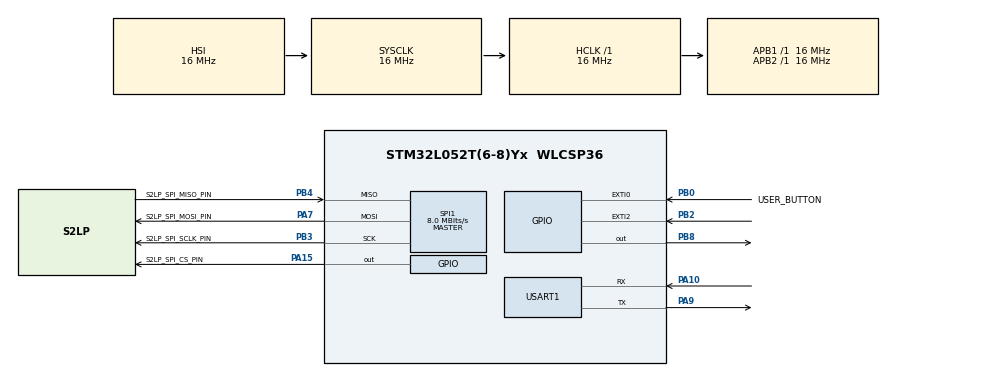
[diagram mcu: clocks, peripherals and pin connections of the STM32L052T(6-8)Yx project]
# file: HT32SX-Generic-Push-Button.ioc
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Dma.Request0=SPI1_TX
Dma.Request1=SPI1_RX
Dma.Request2=USART1_RX
Dma.Request3=USART1_TX
Dma.SPI1_RX.1.Direction=DMA_PERIPH_TO_MEMORY
Dma.SPI1_RX.1.Instance=DMA1_Channel2
Dma.SPI1_RX.1.MemDataAlignment=DMA_MDATAALIGN_BYTE
Dma.SPI1_RX.1.MemInc=DMA_MINC_ENABLE
Dma.SPI1_RX.1.Mode=DMA_NORMAL
Dma.SPI1_RX.1.PeriphDataAlignment=DMA_PDATAALIGN_BYTE
Dma.SPI1_RX.1.PeriphInc=DMA_PINC_DISABLE
Dma.SPI1_RX.1.Priority=DMA_PRIORITY_HIGH
Dma.SPI1_TX.0.Direction=DMA_MEMORY_TO_PERIPH
Dma.SPI1_TX.0.Instance=DMA1_Channel3
Dma.SPI1_TX.0.MemDataAlignment=DMA_MDATAALIGN_BYTE
Dma.SPI1_TX.0.MemInc=DMA_MINC_ENABLE
Dma.SPI1_TX.0.Mode=DMA_NORMAL
Dma.SPI1_TX.0.PeriphDataAlignment=DMA_PDATAALIGN_BYTE
Dma.SPI1_TX.0.PeriphInc=DMA_PINC_DISABLE
Dma.SPI1_TX.0.Priority=DMA_PRIORITY_HIGH
Dma.USART1_RX.2.Direction=DMA_PERIPH_TO_MEMORY
Dma.USART1_RX.2.Instance=DMA1_Channel5
Dma.USART1_RX.2.MemDataAlignment=DMA_MDATAALIGN_BYTE
Dma.USART1_RX.2.MemInc=DMA_MINC_ENABLE
Dma.USART1_RX.2.Mode=DMA_CIRCULAR
Dma.USART1_RX.2.PeriphDataAlignment=DMA_PDATAALIGN_BYTE
Dma.USART1_RX.2.PeriphInc=DMA_PINC_DISABLE
Dma.USART1_RX.2.Priority=DMA_PRIORITY_LOW
Dma.USART1_TX.3.Direction=DMA_MEMORY_TO_PERIPH
Dma.USART1_TX.3.Instance=DMA1_Channel4
Dma.USART1_TX.3.MemDataAlignment=DMA_MDATAALIGN_BYTE
Dma.USART1_TX.3.MemInc=DMA_MINC_ENABLE
Dma.USART1_TX.3.Mode=DMA_NORMAL
Dma.USART1_TX.3.PeriphDataAlignment=DMA_PDATAALIGN_BYTE
Dma.USART1_TX.3.PeriphInc=DMA_PINC_DISABLE
Dma.USART1_TX.3.Priority=DMA_PRIORITY_HIGH
Mcu.Family=STM32L0
Mcu.Name=STM32L052T(6-8)Yx
Mcu.Package=WLCSP36
NVIC.ADC1_COMP_IRQn=true\:2\:0\:true\:false\:true\:true\:true
NVIC.DMA1_Channel2_3_IRQn=true\:1\:0\:true\:false\:true\:false\:true
NVIC.DMA1_Channel4_5_6_7_IRQn=true\:0\:0\:false\:false\:true\:false\:true
NVIC.EXTI0_1_IRQn=true\:1\:0\:true\:false\:true\:true\:true
NVIC.EXTI2_3_IRQn=true\:0\:0\:false\:false\:true\:true\:true
NVIC.RTC_IRQn=true\:1\:0\:true\:false\:true\:true\:true
NVIC.TIM21_IRQn=true\:0\:0\:false\:false\:true\:true\:true
PA10.Mode=Asynchronous
PA10.Signal=USART1_RX
PA13.Mode=Serial_Wire
PA13.Signal=SYS_SWDIO
PA14.Mode=Serial_Wire
PA14.Signal=SYS_SWCLK
PA15.GPIO_Label=S2LP_SPI_CS_PIN
PA15.GPIO_PuPd=GPIO_PULLUP
PA15.GPIO_Speed=GPIO_SPEED_FREQ_HIGH
PA15.PinState=GPIO_PIN_SET
PA15.Signal=GPIO_Output
PA7.GPIO_Label=S2LP_SPI_MOSI_PIN
PA7.GPIO_PuPd=GPIO_PULLUP
PA7.GPIO_Speed=GPIO_SPEED_FREQ_HIGH
PA7.Mode=Full_Duplex_Master
PA7.Signal=SPI1_MOSI
PA9.Mode=Asynchronous
PA9.Signal=USART1_TX
PB0.GPIO_Label=USER_BUTTON
PB0.GPIO_PuPd=GPIO_PULLDOWN
PB0.Signal=GPXTI0
PB2.GPIO_ModeDefaultEXTI=GPIO_MODE_IT_FALLING
PB2.Signal=GPXTI2
PB3.GPIO_Label=S2LP_SPI_SCLK_PIN
PB3.GPIO_PuPd=GPIO_PULLUP
PB3.GPIO_Speed=GPIO_SPEED_FREQ_HIGH
PB3.Mode=Full_Duplex_Master
PB3.Signal=SPI1_SCK
PB4.GPIO_Label=S2LP_SPI_MISO_PIN
PB4.GPIO_PuPd=GPIO_PULLUP
PB4.GPIO_Speed=GPIO_SPEED_FREQ_HIGH
PB4.Mode=Full_Duplex_Master
PB4.Signal=SPI1_MISO
PB8.GPIO_Speed=GPIO_SPEED_FREQ_HIGH
PB8.Signal=GPIO_Output
ProjectManager.HeapSize=0x200
ProjectManager.StackSize=0x400
ProjectManager.TargetToolchain=STM32CubeIDE
RCC.AHBFreq_Value=16000000
RCC.APB1Freq_Value=16000000
RCC.APB1TimFreq_Value=16000000
RCC.APB2Freq_Value=16000000
RCC.APB2TimFreq_Value=16000000
RCC.HCLKFreq_Value=16000000
RCC.HSI16_VALUE=16000000
RCC.HSI48_VALUE=48000000
RCC.HSI_VALUE=16000000
RCC.LSE_VALUE=32768
RCC.MSI_VALUE=2097000
RCC.PLLDIV=RCC_PLLDIV_4
RCC.PLLMUL=RCC_PLLMUL_4
RCC.SYSCLKFreq_VALUE=16000000
RCC.SYSCLKSource=RCC_SYSCLKSOURCE_HSI
RCC.VCOOutputFreq_Value=64000000
RTC.WakeUpCounter=1000
SPI1.CalculateBaudRate=8.0 MBits/s
SPI1.Direction=SPI_DIRECTION_2LINES
SPI1.Mode=SPI_MODE_MASTER
SPI1.VirtualType=VM_MASTER
TIM21.Period=50-1
TIM21.Prescaler=16000-1
USART1.VirtualMode-Asynchronous=VM_ASYNC
VP_ADC_TempSens_Input.Mode=IN-TempSens
VP_ADC_Vref_Input.Mode=IN-Vrefint
VP_RTC_VS_RTC_Activate.Mode=RTC_Enabled
VP_RTC_VS_RTC_Calendar.Mode=RTC_Calendar
VP_RTC_VS_RTC_WakeUp_intern.Mode=WakeUp
VP_TIM21_VS_ClockSourceINT.Mode=Internal
VP_TIM2_VS_ClockSourceINT.Mode=Internal
board=custom

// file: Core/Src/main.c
/* USER CODE BEGIN Header */
/**
 ******************************************************************************
 * @file           : main.c
 * @brief          : Main program body
 ******************************************************************************
 * @attention
 *
 * <h2><center>&copy; Copyright (c) 2019 STMicroelectronics.
 * All rights reserved.</center></h2>
 *
 * This software component is licensed by ST under BSD 3-Clause license,
 * the "License"; You may not use this file except in compliance with the
 * License. You may obtain a copy of the License at:
 *                        opensource.org/licenses/BSD-3-Clause
 *
 ******************************************************************************
 */
/* USER CODE END Header */

#include "main.h"
#include "adc.h"
#include "dma.h"
#include "rtc.h"
#include "spi.h"
#include "tim.h"
#include "usart.h"
#include "gpio.h"

/* USER CODE BEGIN PD */

#ifdef DOWNLINK_FLAG
static uint8_t downlink_request = 1;
#else
static uint8_t downlink_request = 0;
#endif
/* USER CODE END PD */

void SystemClock_Config(void);
/* USER CODE BEGIN PFP */
void ST_Init(void);
/* USER CODE END PFP */

/* USER CODE BEGIN 0 */
extern uint8_t user_button;
/* USER CODE END 0 */

int main(void)
{

  /* MCU Configuration--------------------------------------------------------*/

  /* Reset of all peripherals, Initializes the Flash interface and the Systick. */
  HAL_Init();

  /* Configure the system clock */
  SystemClock_Config();

  /* Initialize all configured peripherals */
  MX_GPIO_Init();
  MX_DMA_Init();
  MX_RTC_Init();
  MX_SPI1_Init();
  MX_USART1_UART_Init();
  MX_ADC_Init();
  MX_TIM2_Init();
  MX_TIM21_Init();
  /* USER CODE BEGIN 2 */

	mcuConfig();

	/********** OPEN AND CONFIFIGURES SIGFOX LIBRARY IN RCZ2 *********************/
	/********** IN ORDER TO OPEN OTHER RCZS, SEE SIGFOX_API.h **/
	/********** BASICALLY CHANGES TO OTHER RC VALUE LIKE RCZ3 **/
	HT_API_ConfigRegion(RCZ2);

  /* USER CODE END 2 */

  /* Infinite loop */
	while (1)
	{

    /* USER CODE BEGIN 3 */

		/*
		 *
		 * Wait for an external interrupt on the user button PB0.
		 * More information about the algorithm can be found in the function HT_GPIO_UserButtonHandler located in Core/Src/gpio.c.
		 *
		 * */

	}
  /* USER CODE END 3 */
}

void SystemClock_Config(void)
{
  RCC_OscInitTypeDef RCC_OscInitStruct = {0};
  RCC_ClkInitTypeDef RCC_ClkInitStruct = {0};
  RCC_PeriphCLKInitTypeDef PeriphClkInit = {0};

  /** Configure the main internal regulator output voltage
  */
  __HAL_PWR_VOLTAGESCALING_CONFIG(PWR_REGULATOR_VOLTAGE_SCALE1);
  /** Initializes the CPU, AHB and APB busses clocks
  */
  RCC_OscInitStruct.OscillatorType = RCC_OSCILLATORTYPE_HSI|RCC_OSCILLATORTYPE_LSI;
  RCC_OscInitStruct.HSIState = RCC_HSI_ON;
  RCC_OscInitStruct.HSICalibrationValue = RCC_HSICALIBRATION_DEFAULT;
  RCC_OscInitStruct.LSIState = RCC_LSI_ON;
  RCC_OscInitStruct.PLL.PLLState = RCC_PLL_NONE;
  if (HAL_RCC_OscConfig(&RCC_OscInitStruct) != HAL_OK)
  {
    Error_Handler();
  }
  /** Initializes the CPU, AHB and APB busses clocks
  */
  RCC_ClkInitStruct.ClockType = RCC_CLOCKTYPE_HCLK|RCC_CLOCKTYPE_SYSCLK
                              |RCC_CLOCKTYPE_PCLK1|RCC_CLOCKTYPE_PCLK2;
  RCC_ClkInitStruct.SYSCLKSource = RCC_SYSCLKSOURCE_HSI;
  RCC_ClkInitStruct.AHBCLKDivider = RCC_SYSCLK_DIV1;
  RCC_ClkInitStruct.APB1CLKDivider = RCC_HCLK_DIV1;
  RCC_ClkInitStruct.APB2CLKDivider = RCC_HCLK_DIV1;

  if (HAL_RCC_ClockConfig(&RCC_ClkInitStruct, FLASH_LATENCY_0) != HAL_OK)
  {
    Error_Handler();
  }
  PeriphClkInit.PeriphClockSelection = RCC_PERIPHCLK_USART1|RCC_PERIPHCLK_RTC;
  PeriphClkInit.Usart1ClockSelection = RCC_USART1CLKSOURCE_PCLK2;
  PeriphClkInit.RTCClockSelection = RCC_RTCCLKSOURCE_LSI;
  if (HAL_RCCEx_PeriphCLKConfig(&PeriphClkInit) != HAL_OK)
  {
    Error_Handler();
  }
}

/* USER CODE BEGIN 4 */

void HT_API_setSmpsVoltageAction(sfx_u8 mode) {
	ST_RF_API_smps(mode);
	printf("Set_smps_voltage %d\n", mode);
}

void HT_API_switchPa(uint8_t state) {

	ST_RF_API_set_pa(state);

	printf("Switch PA: %d\n", state);
}

void HT_API_ConfigRegion(rc_mask RCZ) {
	ST_SFX_ERR open_err = ST_SFX_ERR_NONE;

	switch(RCZ){
	case RCZ1:
		ST_RF_API_reduce_output_power(RCZ1_OUTPUT_POWER);
		open_err = St_Sigfox_Open_RCZ(RCZ1);
		HT_API_switchPa(0);
		HT_API_setSmpsVoltageAction(7);

		if(open_err != 0)
			printf("Open rcz error: %X\n", open_err);

		break;
	case RCZ2:
		ST_RF_API_reduce_output_power(RCZ2_OUTPUT_POWER);
		open_err = St_Sigfox_Open_RCZ(RCZ2);
		HT_API_switchPa(1);
		HT_API_setSmpsVoltageAction(2);

		if(open_err != 0)
			printf("Open rcz error: %X\n", open_err);

		break;
	case RCZ3:
		open_err = St_Sigfox_Open_RCZ(RCZ3);
		ST_RF_API_reduce_output_power(RCZ3_OUTPUT_POWER);
		HT_API_switchPa(0);
		HT_API_setSmpsVoltageAction(7);

		if(open_err != 0)
			printf("Open rcz error: %X\n", open_err);

		break;
	case RCZ4:
		open_err = St_Sigfox_Open_RCZ(RCZ4);
		ST_RF_API_reduce_output_power(RCZ4_OUTPUT_POWER);
		HT_API_switchPa(1);
		HT_API_setSmpsVoltageAction(2);

		if(open_err != 0)
			printf("Open rcz error: %X\n", open_err);

		break;
	case RCZ5:
		open_err = St_Sigfox_Open_RCZ(RCZ5);
		ST_RF_API_reduce_output_power(RCZ5_OUTPUT_POWER);
		HT_API_switchPa(0);
		HT_API_setSmpsVoltageAction(7);

		if(open_err != 0)
			printf("Open rcz error: %X\n", open_err);

		break;
	case RCZ6:
		open_err = St_Sigfox_Open_RCZ(RCZ6);
		ST_RF_API_reduce_output_power(RCZ6_OUTPUT_POWER);
		HT_API_switchPa(0);
		HT_API_setSmpsVoltageAction(7);

		if(open_err != 0)
			printf("Open rcz error: %X\n", open_err);

		break;
	case RCZ7:
		open_err = St_Sigfox_Open_RCZ(RCZ7);
		ST_RF_API_reduce_output_power(RCZ7_OUTPUT_POWER);
		HT_API_switchPa(0);
		HT_API_setSmpsVoltageAction(7);

		if(open_err != 0)
			printf("Open rcz error: %X\n", open_err);

		break;
	default:
		break;
	}

}

sfx_error_t HT_API_SendFrame(void) {

	/********** SEND MESSAGE TO RCZ2 ****************************/

	uint8_t customer_data[12]={0xAA, 0xAA, 0xAA, 0xAA, 0xBA, 0xBA, 0xBA, 0xBA, 0xBA, 0xBA, 0xBA, 0xBA};
	uint8_t customer_resp[8];
	sfx_error_t err;

#ifdef DOWNLINK_FLAG
	HAL_TIM_Base_Start_IT(&htim21);
#endif

	/********** FUNCTION PARAMETERS  ****************************/
	/********** THE LAST ONE IS TO REQUEST DOWNLINK ************/
	/********** 1 - YES, 0 - NO	 ******************************/

	err=SIGFOX_API_send_frame(customer_data,sizeof(customer_data),customer_resp, 3, downlink_request);

	if(downlink_request && !err) {
		printf("Customer resp: {");

		for(uint16_t i = 0; i < 7; i++)
			printf("0x%x,", customer_resp[i]);

		printf("0x%x}\n\r", customer_resp[7]);
	}

	printf("\nError Send Frame: %X\n", err);

#ifdef DOWNLINK_FLAG
	HAL_TIM_Base_Stop_IT(&htim21);
#endif

	return err;
}

void mcuConfig(void) {
	ST_SFX_ERR stSfxRetErr;

	ST_Init();

	NVM_BoardDataType sfxConfiguration;
	stSfxRetErr = ST_Sigfox_Init(&sfxConfiguration, 0);

	if(stSfxRetErr != ST_SFX_ERR_NONE) {
		if(stSfxRetErr == ST_SFX_ERR_CREDENTIALS) {
			sfxConfiguration.id = 0;
			memset(sfxConfiguration.pac, 0x00, 8);
			sfxConfiguration.rcz = 0;

		}
	}

	/* Calibrate RTC in case of STM32*/
	ST_MCU_API_TimerCalibration(500);

	printf("Sigfox iMCP HT32SX\n");

	printf("ID: %.8X - PAC: ", (unsigned int)sfxConfiguration.id);

	for(uint16_t i = 0; i < sizeof(sfxConfiguration.pac); i++)
	{
		printf("%.2X", sfxConfiguration.pac[i]);
	}

	printf("\n");

	/*			SET S2LP XTAL FREQUENCY														*/
	/*			DO NOT CHANGE IT																	*/

	ST_RF_API_set_xtal_freq(50000000);

	/*			SET A PROPER FREQUENCY OFFSET											*/
	/*			THIS VALUE CAN BE FOUND IN CREDENTIALS 						*/

	ST_RF_API_set_freq_offset(sfxConfiguration.freqOffset);
	printf("Freq Offset %ld \n", (int32_t)sfxConfiguration.freqOffset);

	/*			SET LBT OFFSET																		*/
	/*			THIS VALUE CAN BE FOUND IN CREDENTIALS 						*/

	ST_RF_API_set_lbt_thr_offset(sfxConfiguration.lbtOffset);
	printf("LBT %ld \n", (int32_t)sfxConfiguration.lbtOffset);

	/*			SET RSSI OFFSET																		*/
	/*			THIS VALUE CAN BE FOUND IN CREDENTIALS 						*/

	ST_RF_API_set_rssi_offset(sfxConfiguration.rssiOffset);
	printf("RSSI %ld \n", sfxConfiguration.rssiOffset);
}

void ST_Init(void) {
	/* Put the radio off */
	S2LPShutdownInit();
	HAL_Delay(10);
	S2LPShutdownExit();

	/* FEM Initialization */
	FEM_Init();
}

/* USER CODE END 4 */

void Error_Handler(void)
{
}

/************************ (C) COPYRIGHT STMicroelectronics *****END OF FILE****/
